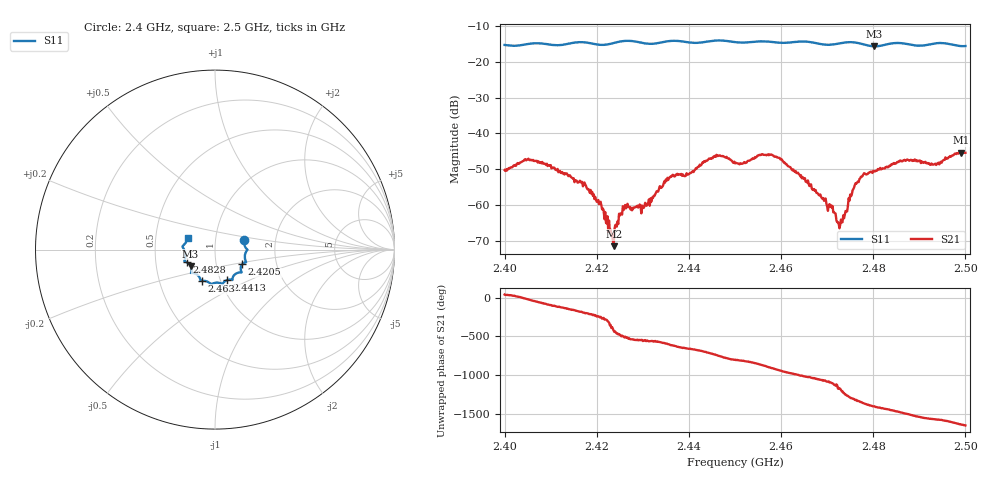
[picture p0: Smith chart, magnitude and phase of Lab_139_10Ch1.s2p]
# Hz S RI R 50
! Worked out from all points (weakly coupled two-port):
!   601 points, 2.4 GHz to 2.5 GHz, reference 50 ohm
!   highest |S21| = -45.34 dB at 2.499 GHz (marker M1); lowest = -71.4 dB at 2.4237 GHz (marker M2)
!   lowest |S11| = -15.7 dB at 2.4802 GHz (marker M3), VSWR 1.39, Z = 37.5 - j6.98 ohm
!   |S11| at or under -10 dB: start of sweep to end of sweep
!   S12 and S22 are empty: the file has one direction only
!   S11 on the Smith chart (normalised r, x): 2.4 GHz: 1.38, +0.15; 2.4205 GHz: 1.34, -0.22; 2.4413 GHz: 1.08, -0.38; 2.463 GHz: 0.82, -0.29; 2.4828 GHz: 0.72, -0.10; 2.5 GHz: 0.73, +0.10
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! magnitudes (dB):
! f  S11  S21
! 2.4 GHz  -15.3  -50.2
! 2.4057 GHz  -15.0  -47.3
! 2.4167 GHz  -14.6  -53.5
! 2.4205 GHz  -15.3  -59.7
! 2.4237 GHz  -14.8  -71.4
! 2.4262 GHz  -14.2  -59.9
! 2.4302 GHz  -14.8  -60.8
! 2.4333 GHz  -14.8  -56.2
! 2.4413 GHz  -14.8  -50.1
! 2.4462 GHz  -14.1  -46.3
! 2.45 GHz  -14.5  -48.3
! 2.4577 GHz  -14.5  -45.9
! 2.463 GHz  -14.5  -50.7
! 2.4667 GHz  -14.6  -55.4
! 2.4728 GHz  -14.9  -65.4
! 2.4762 GHz  -14.7  -53.9
! 2.4802 GHz  -15.7  -50.5
! 2.4828 GHz  -15.2  -49.4
! 2.4833 GHz  -15.1  -49.3
! 2.4933 GHz  -14.9  -48.5
! 2.499 GHz  -15.7  -45.3
! 2.5 GHz  -15.7  -45.4
